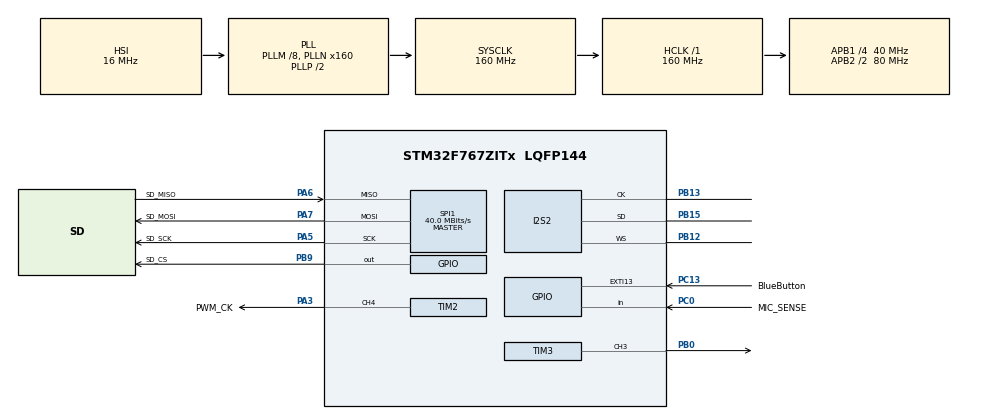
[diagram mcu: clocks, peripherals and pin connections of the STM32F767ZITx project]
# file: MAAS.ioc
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CORTEX_M7.default_mode_Activation=1
FATFS._MAX_SS=4096
FATFS._USE_LFN=1
I2S2.AudioFreq=I2S_AUDIOFREQ_16K
I2S2.DataFormat=I2S_DATAFORMAT_24B
I2S2.ErrorAudioFreq=-0.12 %
I2S2.FullDuplexMode=I2S_FULLDUPLEXMODE_DISABLE
I2S2.Instance=SPI$Index
I2S2.Mode=I2S_MODE_SLAVE_RX
I2S2.RealAudioFreq=15.98 KHz
I2S2.Standard=I2S_STANDARD_PHILIPS
I2S2.VirtualMode=I2S_MODE_SLAVE
Mcu.Family=STM32F7
Mcu.Name=STM32F767ZITx
Mcu.Package=LQFP144
NVIC.EXTI15_10_IRQn=true\:0\:0\:false\:false\:true\:true\:true\:true
NVIC.PriorityGroup=NVIC_PRIORITYGROUP_4
PA3.GPIO_Label=PWM_CK
PA3.GPIO_Speed=GPIO_SPEED_FREQ_MEDIUM
PA3.Signal=S_TIM2_CH4
PA5.GPIO_Label=SD_SCK
PA5.Mode=Full_Duplex_Master
PA5.Signal=SPI1_SCK
PA6.GPIO_Label=SD_MISO
PA6.Mode=Full_Duplex_Master
PA6.Signal=SPI1_MISO
PA7.GPIO_Label=SD_MOSI
PA7.Mode=Full_Duplex_Master
PA7.Signal=SPI1_MOSI
PB0.Signal=S_TIM3_CH3
PB12.Mode=Half_Duplex_Slave
PB12.Signal=I2S2_WS
PB13.Mode=Half_Duplex_Slave
PB13.Signal=I2S2_CK
PB15.Mode=Half_Duplex_Slave
PB15.Signal=I2S2_SD
PB9.GPIO_Label=SD_CS
PB9.PinState=GPIO_PIN_SET
PB9.Signal=GPIO_Output
PC0.GPIO_Label=MIC_SENSE
PC0.Signal=GPIO_Input
PC13.GPIO_Label=BlueButton
PC13.Signal=GPXTI13
ProjectManager.HeapSize=0x200
ProjectManager.StackSize=0x400
ProjectManager.TargetToolchain=STM32CubeIDE
RCC.AHBFreq_Value=160000000
RCC.APB1CLKDivider=RCC_HCLK_DIV4
RCC.APB1Freq_Value=40000000
RCC.APB1TimFreq_Value=80000000
RCC.APB2CLKDivider=RCC_HCLK_DIV2
RCC.APB2Freq_Value=80000000
RCC.APB2TimFreq_Value=160000000
RCC.CortexFreq_Value=160000000
RCC.HCLKFreq_Value=160000000
RCC.HSE_VALUE=25000000
RCC.HSI_VALUE=16000000
RCC.LSE_VALUE=32768
RCC.PLLI2SN=135
RCC.PLLI2SR=3
RCC.PLLM=8
RCC.PLLN=160
RCC.PLLQ=7
RCC.SDMMCClockSelection=RCC_SDMMC1CLKSOURCE_CLK48
RCC.SYSCLKFreq_VALUE=160000000
RCC.SYSCLKSource=RCC_SYSCLKSOURCE_PLLCLK
RCC.USBFreq_Value=45714285.71428572
RCC.VCOOutputFreq_Value=320000000
SH.S_TIM2_CH4.0=TIM2_CH4,PWM Generation4 CH4
SH.S_TIM3_CH3.0=TIM3_CH3,PWM Generation3 CH3
SPI1.CalculateBaudRate=40.0 MBits/s
SPI1.DataSize=SPI_DATASIZE_8BIT
SPI1.Direction=SPI_DIRECTION_2LINES
SPI1.Mode=SPI_MODE_MASTER
SPI1.VirtualType=VM_MASTER
TIM2.AutoReloadPreload=TIM_AUTORELOAD_PRELOAD_DISABLE
TIM2.Channel-PWM\ Generation4\ CH4=TIM_CHANNEL_4
TIM2.OC4Preload_PWM=ENABLE
TIM2.OCFastMode_PWM-PWM\ Generation4\ CH4=TIM_OCFAST_ENABLE
TIM2.Period=10-1
TIM2.Prescaler=0
TIM2.Pulse-PWM\ Generation4\ CH4=5
TIM3.Channel-Input_Capture4_from_TI4=TIM_CHANNEL_4
TIM3.Channel-PWM\ Generation3\ CH3=TIM_CHANNEL_3
TIM3.OCPolarity_3=TIM_OCPOLARITY_LOW
TIM3.Period=2800-1
TIM3.Pulse-PWM\ Generation3\ CH3=1400
VP_FATFS_VS_Generic.Mode=User_defined
VP_TIM2_VS_ClockSourceINT.Mode=Internal
VP_TIM3_VS_ClockSourceINT.Mode=Internal
board=custom

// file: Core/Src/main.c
/* USER CODE BEGIN Header */
/**
  ******************************************************************************
  * @file           : main.c
  * @brief          : Main program body
  ******************************************************************************
  * @attention
  *
  * Copyright (c) 2024 STMicroelectronics.
  * All rights reserved.
  *
  * This software is licensed under terms that can be found in the LICENSE file
  * in the root directory of this software component.
  * If no LICENSE file comes with this software, it is provided AS-IS.
  *
  ******************************************************************************
  */
/* USER CODE END Header */
#include "main.h"
#include "fatfs.h"

/* USER CODE BEGIN Includes */
#include "stdio.h"
#include "audio_sd.h"
/* USER CODE END Includes */

I2S_HandleTypeDef hi2s2;

SPI_HandleTypeDef hspi1;

TIM_HandleTypeDef htim2;
TIM_HandleTypeDef htim3;

/* USER CODE BEGIN PV */
int16_t data_i2s[WAV_WRITE_SAMPLE_COUNT];
volatile int16_t sample_i2s;
volatile uint8_t button_flag, start_stop_recording;
volatile uint8_t half_i2s, full_i2s;
int incremental_address = 0;
/* USER CODE END PV */

void SystemClock_Config(void);
static void MPU_Config(void);
static void MX_GPIO_Init(void);
static void MX_I2S2_Init(void);
static void MX_SPI1_Init(void);
static void MX_TIM2_Init(void);
static void MX_TIM3_Init(void);

int main(void)
{

  /* MPU Configuration--------------------------------------------------------*/
  MPU_Config();

  /* MCU Configuration--------------------------------------------------------*/

  /* Reset of all peripherals, Initializes the Flash interface and the Systick. */
  HAL_Init();

  /* Configure the system clock */
  SystemClock_Config();

  /* Initialize all configured peripherals */
  MX_GPIO_Init();
  MX_I2S2_Init();
  MX_SPI1_Init();
  MX_FATFS_Init();
  MX_TIM2_Init();
  MX_TIM3_Init();
  /* USER CODE BEGIN 2 */
  HAL_I2S_DMAStop(&hi2s2);
  HAL_TIM_PWM_Start(&htim2, TIM_CHANNEL_4);
  HAL_TIM_PWM_Start(&htim3, TIM_CHANNEL_3);
  HAL_Delay(500);
  sd_card_init();
  /* USER CODE END 2 */

  /* Infinite loop */
  /* USER CODE BEGIN WHILE */
  while (1)
  {
	  if (button_flag) {
		  if (start_stop_recording) {
			  HAL_I2S_DMAStop(&hi2s2);
			  start_stop_recording = 0;
			  stop_recording();
			  half_i2s = 0;
			  full_i2s = 0;
			  printf("Grabación terminada.\n");
		  }
		  else {
			  start_stop_recording = 1;
			  start_recording(I2S_AUDIOFREQ_32K);
			  printf("Grabando... (banderas en %d y %d)\n", half_i2s, full_i2s);
			  HAL_I2S_Receive_DMA(&hi2s2, (uint16_t *) data_i2s, sizeof(data_i2s)/2);
		  }
		  button_flag = 0;
	  }
    /* USER CODE END WHILE */

    /* USER CODE BEGIN 3 */
	  if (start_stop_recording == 1 && (half_i2s || HAL_GPIO_ReadPin(MIC_SENSE_GPIO_Port, MIC_SENSE_Pin) && incremental_address == 0) == 1)
	  {
		  printf("Se ha recibido medio bloque de audio.");
		  write2wave_file(((uint8_t*)data_i2s),	 WAV_WRITE_SAMPLE_COUNT);
		  half_i2s = 0;
		  incremental_address = 1;
	  }
	  if (start_stop_recording == 1 && (full_i2s || HAL_GPIO_ReadPin(MIC_SENSE_GPIO_Port, MIC_SENSE_Pin) && incremental_address == 1) == 1)
	  {
		  printf("Se ha recibido un bloque entero de audio.");
		  write2wave_file(((uint8_t*)data_i2s) + WAV_WRITE_SAMPLE_COUNT, WAV_WRITE_SAMPLE_COUNT);
		  full_i2s = 0;
		  incremental_address = 0;
	  }
  }
  /* USER CODE END 3 */
}

void SystemClock_Config(void)
{
  RCC_OscInitTypeDef RCC_OscInitStruct = {0};
  RCC_ClkInitTypeDef RCC_ClkInitStruct = {0};

  /** Configure the main internal regulator output voltage
  */
  __HAL_RCC_PWR_CLK_ENABLE();
  __HAL_PWR_VOLTAGESCALING_CONFIG(PWR_REGULATOR_VOLTAGE_SCALE2);

  /** Initializes the RCC Oscillators according to the specified parameters
  * in the RCC_OscInitTypeDef structure.
  */
  RCC_OscInitStruct.OscillatorType = RCC_OSCILLATORTYPE_HSI;
  RCC_OscInitStruct.HSIState = RCC_HSI_ON;
  RCC_OscInitStruct.HSICalibrationValue = RCC_HSICALIBRATION_DEFAULT;
  RCC_OscInitStruct.PLL.PLLState = RCC_PLL_ON;
  RCC_OscInitStruct.PLL.PLLSource = RCC_PLLSOURCE_HSI;
  RCC_OscInitStruct.PLL.PLLM = 8;
  RCC_OscInitStruct.PLL.PLLN = 160;
  RCC_OscInitStruct.PLL.PLLP = RCC_PLLP_DIV2;
  RCC_OscInitStruct.PLL.PLLQ = 7;
  RCC_OscInitStruct.PLL.PLLR = 2;
  if (HAL_RCC_OscConfig(&RCC_OscInitStruct) != HAL_OK)
  {
    Error_Handler();
  }

  /** Initializes the CPU, AHB and APB buses clocks
  */
  RCC_ClkInitStruct.ClockType = RCC_CLOCKTYPE_HCLK|RCC_CLOCKTYPE_SYSCLK
                              |RCC_CLOCKTYPE_PCLK1|RCC_CLOCKTYPE_PCLK2;
  RCC_ClkInitStruct.SYSCLKSource = RCC_SYSCLKSOURCE_PLLCLK;
  RCC_ClkInitStruct.AHBCLKDivider = RCC_SYSCLK_DIV1;
  RCC_ClkInitStruct.APB1CLKDivider = RCC_HCLK_DIV4;
  RCC_ClkInitStruct.APB2CLKDivider = RCC_HCLK_DIV2;

  if (HAL_RCC_ClockConfig(&RCC_ClkInitStruct, FLASH_LATENCY_5) != HAL_OK)
  {
    Error_Handler();
  }
}

static void MX_I2S2_Init(void)
{

  hi2s2.Instance = SPI2;
  hi2s2.Init.Mode = I2S_MODE_SLAVE_RX;
  hi2s2.Init.Standard = I2S_STANDARD_PHILIPS;
  hi2s2.Init.DataFormat = I2S_DATAFORMAT_24B;
  hi2s2.Init.MCLKOutput = I2S_MCLKOUTPUT_DISABLE;
  hi2s2.Init.AudioFreq = I2S_AUDIOFREQ_16K;
  hi2s2.Init.CPOL = I2S_CPOL_LOW;
  hi2s2.Init.ClockSource = I2S_CLOCK_PLL;
  if (HAL_I2S_Init(&hi2s2) != HAL_OK)
  {
    Error_Handler();
  }

}

static void MX_SPI1_Init(void)
{

  /* SPI1 parameter configuration*/
  hspi1.Instance = SPI1;
  hspi1.Init.Mode = SPI_MODE_MASTER;
  hspi1.Init.Direction = SPI_DIRECTION_2LINES;
  hspi1.Init.DataSize = SPI_DATASIZE_8BIT;
  hspi1.Init.CLKPolarity = SPI_POLARITY_LOW;
  hspi1.Init.CLKPhase = SPI_PHASE_1EDGE;
  hspi1.Init.NSS = SPI_NSS_SOFT;
  hspi1.Init.BaudRatePrescaler = SPI_BAUDRATEPRESCALER_2;
  hspi1.Init.FirstBit = SPI_FIRSTBIT_MSB;
  hspi1.Init.TIMode = SPI_TIMODE_DISABLE;
  hspi1.Init.CRCCalculation = SPI_CRCCALCULATION_DISABLE;
  hspi1.Init.CRCPolynomial = 7;
  hspi1.Init.CRCLength = SPI_CRC_LENGTH_DATASIZE;
  hspi1.Init.NSSPMode = SPI_NSS_PULSE_ENABLE;
  if (HAL_SPI_Init(&hspi1) != HAL_OK)
  {
    Error_Handler();
  }

}

static void MX_TIM2_Init(void)
{

  TIM_ClockConfigTypeDef sClockSourceConfig = {0};
  TIM_MasterConfigTypeDef sMasterConfig = {0};
  TIM_OC_InitTypeDef sConfigOC = {0};

  htim2.Instance = TIM2;
  htim2.Init.Prescaler = 0;
  htim2.Init.CounterMode = TIM_COUNTERMODE_UP;
  htim2.Init.Period = 10-1;
  htim2.Init.ClockDivision = TIM_CLOCKDIVISION_DIV1;
  htim2.Init.AutoReloadPreload = TIM_AUTORELOAD_PRELOAD_DISABLE;
  if (HAL_TIM_Base_Init(&htim2) != HAL_OK)
  {
    Error_Handler();
  }
  sClockSourceConfig.ClockSource = TIM_CLOCKSOURCE_INTERNAL;
  if (HAL_TIM_ConfigClockSource(&htim2, &sClockSourceConfig) != HAL_OK)
  {
    Error_Handler();
  }
  if (HAL_TIM_PWM_Init(&htim2) != HAL_OK)
  {
    Error_Handler();
  }
  sMasterConfig.MasterOutputTrigger = TIM_TRGO_RESET;
  sMasterConfig.MasterSlaveMode = TIM_MASTERSLAVEMODE_DISABLE;
  if (HAL_TIMEx_MasterConfigSynchronization(&htim2, &sMasterConfig) != HAL_OK)
  {
    Error_Handler();
  }
  sConfigOC.OCMode = TIM_OCMODE_PWM1;
  sConfigOC.Pulse = 5;
  sConfigOC.OCPolarity = TIM_OCPOLARITY_HIGH;
  sConfigOC.OCFastMode = TIM_OCFAST_ENABLE;
  if (HAL_TIM_PWM_ConfigChannel(&htim2, &sConfigOC, TIM_CHANNEL_4) != HAL_OK)
  {
    Error_Handler();
  }
  HAL_TIM_MspPostInit(&htim2);

}

static void MX_TIM3_Init(void)
{

  TIM_ClockConfigTypeDef sClockSourceConfig = {0};
  TIM_MasterConfigTypeDef sMasterConfig = {0};
  TIM_OC_InitTypeDef sConfigOC = {0};

  htim3.Instance = TIM3;
  htim3.Init.Prescaler = 0;
  htim3.Init.CounterMode = TIM_COUNTERMODE_UP;
  htim3.Init.Period = 2800-1;
  htim3.Init.ClockDivision = TIM_CLOCKDIVISION_DIV1;
  htim3.Init.AutoReloadPreload = TIM_AUTORELOAD_PRELOAD_DISABLE;
  if (HAL_TIM_Base_Init(&htim3) != HAL_OK)
  {
    Error_Handler();
  }
  sClockSourceConfig.ClockSource = TIM_CLOCKSOURCE_INTERNAL;
  if (HAL_TIM_ConfigClockSource(&htim3, &sClockSourceConfig) != HAL_OK)
  {
    Error_Handler();
  }
  if (HAL_TIM_PWM_Init(&htim3) != HAL_OK)
  {
    Error_Handler();
  }
  sMasterConfig.MasterOutputTrigger = TIM_TRGO_RESET;
  sMasterConfig.MasterSlaveMode = TIM_MASTERSLAVEMODE_DISABLE;
  if (HAL_TIMEx_MasterConfigSynchronization(&htim3, &sMasterConfig) != HAL_OK)
  {
    Error_Handler();
  }
  sConfigOC.OCMode = TIM_OCMODE_PWM1;
  sConfigOC.Pulse = 1400;
  sConfigOC.OCPolarity = TIM_OCPOLARITY_LOW;
  sConfigOC.OCFastMode = TIM_OCFAST_DISABLE;
  if (HAL_TIM_PWM_ConfigChannel(&htim3, &sConfigOC, TIM_CHANNEL_3) != HAL_OK)
  {
    Error_Handler();
  }
  HAL_TIM_MspPostInit(&htim3);

}

static void MX_GPIO_Init(void)
{
  GPIO_InitTypeDef GPIO_InitStruct = {0};

  /* GPIO Ports Clock Enable */
  __HAL_RCC_GPIOC_CLK_ENABLE();
  __HAL_RCC_GPIOA_CLK_ENABLE();
  __HAL_RCC_GPIOB_CLK_ENABLE();

  /*Configure GPIO pin Output Level */
  HAL_GPIO_WritePin(SD_CS_GPIO_Port, SD_CS_Pin, GPIO_PIN_SET);

  /*Configure GPIO pin : BlueButton_Pin */
  GPIO_InitStruct.Pin = BlueButton_Pin;
  GPIO_InitStruct.Mode = GPIO_MODE_IT_RISING;
  GPIO_InitStruct.Pull = GPIO_NOPULL;
  HAL_GPIO_Init(BlueButton_GPIO_Port, &GPIO_InitStruct);

  /*Configure GPIO pin : MIC_SENSE_Pin */
  GPIO_InitStruct.Pin = MIC_SENSE_Pin;
  GPIO_InitStruct.Mode = GPIO_MODE_INPUT;
  GPIO_InitStruct.Pull = GPIO_NOPULL;
  HAL_GPIO_Init(MIC_SENSE_GPIO_Port, &GPIO_InitStruct);

  /*Configure GPIO pin : SD_CS_Pin */
  GPIO_InitStruct.Pin = SD_CS_Pin;
  GPIO_InitStruct.Mode = GPIO_MODE_OUTPUT_PP;
  GPIO_InitStruct.Pull = GPIO_NOPULL;
  GPIO_InitStruct.Speed = GPIO_SPEED_FREQ_LOW;
  HAL_GPIO_Init(SD_CS_GPIO_Port, &GPIO_InitStruct);

  /* EXTI interrupt init*/
  HAL_NVIC_SetPriority(EXTI15_10_IRQn, 0, 0);
  HAL_NVIC_EnableIRQ(EXTI15_10_IRQn);

}

/* USER CODE BEGIN 4 */
int _write(int file, char *ptr, int len)
{
  (void)file;
  int DataIdx;

  for (DataIdx = 0; DataIdx < len; DataIdx++)
  {
    ITM_SendChar(*ptr++);
  }
  return len;
}

void HAL_I2S_RxCpltCallback(I2S_HandleTypeDef *hi2s)
{
	full_i2s = 1;
}
void HAL_I2S_RxHalfCpltCallback(I2S_HandleTypeDef *hi2s)
{
	sample_i2s = data_i2s[0];
	half_i2s = 1;
}

void HAL_GPIO_EXTI_Callback(uint16_t GPIO_Pin) {
	if (GPIO_Pin == BlueButton_Pin) {
		button_flag = 1;
	}
}
/* USER CODE END 4 */

 /* MPU Configuration */

void MPU_Config(void)
{
  MPU_Region_InitTypeDef MPU_InitStruct = {0};

  /* Disables the MPU */
  HAL_MPU_Disable();

  /** Initializes and configures the Region and the memory to be protected
  */
  MPU_InitStruct.Enable = MPU_REGION_ENABLE;
  MPU_InitStruct.Number = MPU_REGION_NUMBER0;
  MPU_InitStruct.BaseAddress = 0x0;
  MPU_InitStruct.Size = MPU_REGION_SIZE_4GB;
  MPU_InitStruct.SubRegionDisable = 0x87;
  MPU_InitStruct.TypeExtField = MPU_TEX_LEVEL0;
  MPU_InitStruct.AccessPermission = MPU_REGION_NO_ACCESS;
  MPU_InitStruct.DisableExec = MPU_INSTRUCTION_ACCESS_DISABLE;
  MPU_InitStruct.IsShareable = MPU_ACCESS_SHAREABLE;
  MPU_InitStruct.IsCacheable = MPU_ACCESS_NOT_CACHEABLE;
  MPU_InitStruct.IsBufferable = MPU_ACCESS_NOT_BUFFERABLE;

  HAL_MPU_ConfigRegion(&MPU_InitStruct);
  /* Enables the MPU */
  HAL_MPU_Enable(MPU_PRIVILEGED_DEFAULT);

}

void Error_Handler(void)
{
  __disable_irq();
  while (1)
  {
  }
}
